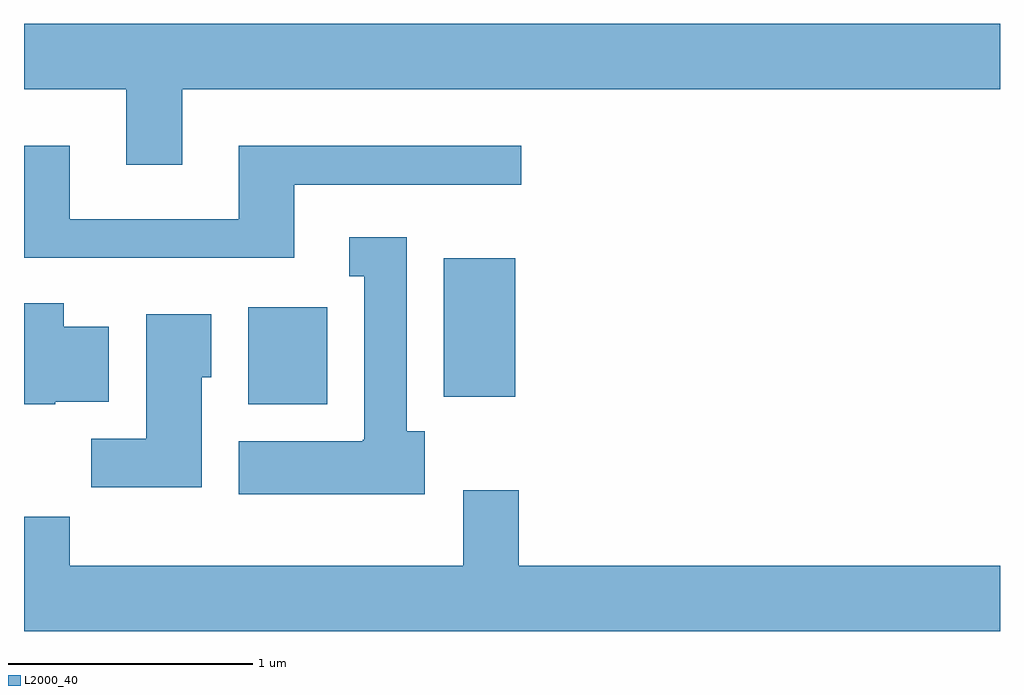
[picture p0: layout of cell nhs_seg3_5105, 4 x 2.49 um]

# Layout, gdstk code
import gdstk
lib = gdstk.Library(unit=1e-6, precision=1e-09)
def R(c, l, rs):  # rectangles x0, y0, x1, y1
    for r in rs: c.add(gdstk.rectangle(r[:2], r[2:], *l))
def P(c, l, *ps):  # polygons
    for p in ps: c.add(gdstk.Polygon(p, *l))
L2000_40 = (2000, 40)

nhs_seg3_5105 = lib.new_cell('nhs_seg3_5105')
R(nhs_seg3_5105, L2000_40, [(336.531,1135.826,336.854,1136.224), (337.331,1135.856,337.624,1136.424)])
P(nhs_seg3_5105, L2000_40, [(336.259,1137.116),(339.611,1137.116),(339.611,1137.384),(335.611,1137.384),(335.611,1137.116),(336.031,1137.116),(336.031,1136.806),(336.259,1136.806)],
  [(336.719,1136.726),(337.648,1136.726),(337.648,1136.884),(336.491,1136.884),(336.491,1136.584),(335.799,1136.584),(335.799,1136.884),(335.611,1136.884),(335.611,1136.426),(336.719,1136.426)],
  [(337.254,1135.714),(337.179,1135.714),(337.179,1136.509),(336.943,1136.509),(336.943,1136.351),(337.006,1136.351),(337.006,1135.68),(337,1135.68),(337,1135.674),(336.491,1135.674),(336.491,1135.456),(337.254,1135.456)],
  [(335.74,1135.836),(335.959,1135.836),(335.959,1136.144),(335.774,1136.144),(335.774,1136.239),(335.611,1136.239),(335.611,1135.826),(335.74,1135.826)],
  [(336.339,1135.936),(336.379,1135.936),(336.379,1136.194),(336.111,1136.194),(336.111,1135.684),(335.886,1135.684),(335.886,1135.486),(336.339,1135.486)],
  [(339.611,1135.164),(337.639,1135.164),(337.639,1135.474),(337.411,1135.474),(337.411,1135.164),(335.799,1135.164),(335.799,1135.364),(335.611,1135.364),(335.611,1134.896),(339.611,1134.896)])

lib.write_gds('nhs_seg3_5105.gds')
